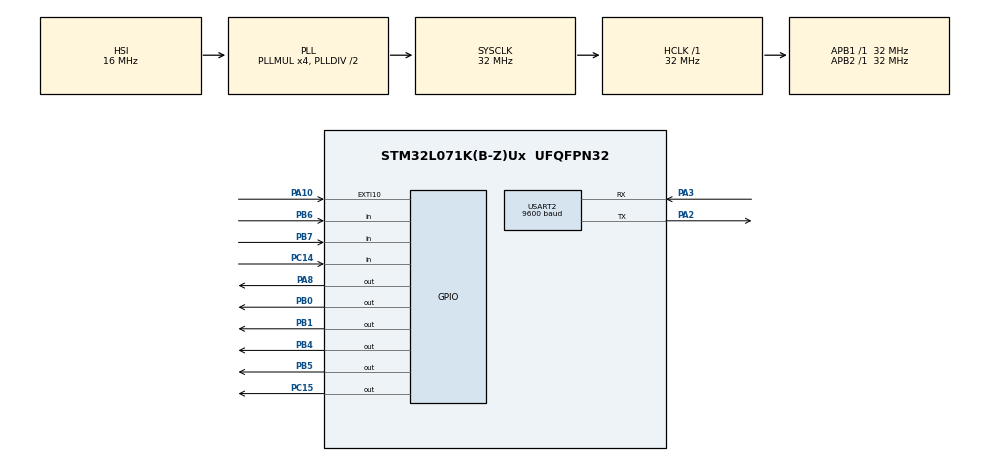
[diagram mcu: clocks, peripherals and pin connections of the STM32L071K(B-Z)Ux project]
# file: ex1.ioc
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Dma.MEMTOMEM.0.Direction=DMA_MEMORY_TO_MEMORY
Dma.MEMTOMEM.0.Instance=DMA1_Channel1
Dma.MEMTOMEM.0.MemDataAlignment=DMA_MDATAALIGN_BYTE
Dma.MEMTOMEM.0.MemInc=DMA_MINC_ENABLE
Dma.MEMTOMEM.0.Mode=DMA_NORMAL
Dma.MEMTOMEM.0.PeriphDataAlignment=DMA_PDATAALIGN_BYTE
Dma.MEMTOMEM.0.PeriphInc=DMA_PINC_ENABLE
Dma.MEMTOMEM.0.Priority=DMA_PRIORITY_LOW
Dma.Request0=MEMTOMEM
Dma.Request1=USART2_RX
Dma.USART2_RX.1.Direction=DMA_PERIPH_TO_MEMORY
Dma.USART2_RX.1.Instance=DMA1_Channel5
Dma.USART2_RX.1.MemDataAlignment=DMA_MDATAALIGN_BYTE
Dma.USART2_RX.1.MemInc=DMA_MINC_ENABLE
Dma.USART2_RX.1.Mode=DMA_CIRCULAR
Dma.USART2_RX.1.PeriphDataAlignment=DMA_PDATAALIGN_BYTE
Dma.USART2_RX.1.PeriphInc=DMA_PINC_DISABLE
Dma.USART2_RX.1.Priority=DMA_PRIORITY_LOW
Mcu.Family=STM32L0
Mcu.Name=STM32L071K(B-Z)Ux
Mcu.Package=UFQFPN32
NVIC.DMA1_Channel1_IRQn=true\:0\:0\:false\:false\:true\:true\:true
NVIC.DMA1_Channel4_5_6_7_IRQn=true\:0\:0\:false\:false\:true\:false\:true
NVIC.EXTI4_15_IRQn=true\:0\:0\:false\:false\:true\:true\:true
NVIC.TIM6_IRQn=true\:0\:0\:false\:false\:true\:true\:true
NVIC.USART2_IRQn=true\:0\:0\:false\:false\:true\:true\:true
PA10.Signal=GPXTI10
PA13.Mode=Serial_Wire
PA13.Signal=SYS_SWDIO
PA14.Mode=Serial_Wire
PA14.Signal=SYS_SWCLK
PA2.Mode=Asynchronous
PA2.Signal=USART2_TX
PA3.Mode=Asynchronous
PA3.Signal=USART2_RX
PA8.Signal=GPIO_Output
PB0.Signal=GPIO_Output
PB1.Signal=GPIO_Output
PB4.Signal=GPIO_Output
PB5.Signal=GPIO_Output
PB6.Signal=GPIO_Input
PB7.Signal=GPIO_Input
PC14-OSC32_IN.Signal=GPIO_Input
PC15-OSC32_OUT.Signal=GPIO_Output
ProjectManager.HeapSize=0x200
ProjectManager.StackSize=0x400
ProjectManager.TargetToolchain=MDK-ARM V5
RCC.AHBFreq_Value=32000000
RCC.APB1Freq_Value=32000000
RCC.APB1TimFreq_Value=32000000
RCC.APB2Freq_Value=32000000
RCC.APB2TimFreq_Value=32000000
RCC.HCLKFreq_Value=32000000
RCC.HSI16_VALUE=16000000
RCC.HSI_VALUE=16000000
RCC.LSE_VALUE=32768
RCC.MSI_VALUE=2097000
RCC.PLLMUL=RCC_PLLMUL_4
RCC.SYSCLKFreq_VALUE=32000000
RCC.SYSCLKSource=RCC_SYSCLKSOURCE_PLLCLK
RCC.VCOOutputFreq_Value=64000000
RTC.Format=RTC_FORMAT_BIN
RTC.SynchPrediv=307
TIM6.Period=999
TIM6.Prescaler=31
USART2.BaudRate=9600
USART2.VirtualMode-Asynchronous=VM_ASYNC
VP_CRC_VS_CRC.Mode=CRC_Activate
VP_RTC_VS_RTC_Activate.Mode=RTC_Enabled
VP_RTC_VS_RTC_Calendar.Mode=RTC_Calendar
VP_TIM6_VS_ClockSourceINT.Mode=Enable_Timer
board=custom

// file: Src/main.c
/* USER CODE BEGIN Header */
/**
  ******************************************************************************
  * @file           : main.c
  * @brief          : Main program body
  ******************************************************************************
  * @attention
  *
  * <h2><center>&copy; Copyright (c) 2019 STMicroelectronics.
  * All rights reserved.</center></h2>
  *
  * This software component is licensed by ST under BSD 3-Clause license,
  * the "License"; You may not use this file except in compliance with the
  * License. You may obtain a copy of the License at:
  *                        opensource.org/licenses/BSD-3-Clause
  *
  ******************************************************************************
  */
/* USER CODE END Header */

#include "main.h"
#include "crc.h"
#include "dma.h"
#include "rtc.h"
#include "tim.h"
#include "usart.h"
#include "gpio.h"

/* USER CODE BEGIN Includes */
#include "stm32l0xx_hal.h"
#include "zm4xx_gpio.h"
#include "spi.h"
#include "timer.h"
#include "stddef.h"
#include "sx127x_lora.h"
#include "key.h"
/* USER CODE END Includes */

/* USER CODE BEGIN PTD */
#define FREQ  (433000000)
void SystemClock_Config(void);
void Hardware_Init(void);
radio_handle_t  handle;
int ret = RADIO_RET_OK;

    uint16_t len = 0;
		uint8_t rx[100];
		uint8_t tx = 0x55;
		uint8_t cntr = 0;
	unsigned int time_i=0,time_10ms=1,time_100ms=1;
	unsigned int lora_flag=2,send_allow=1;
	unsigned char send[100]="123",reply[100],enter[5]="\r\n";
	unsigned int usar_flag=0;

/* USER CODE END PTD */

void SystemClock_Config(void);

/* USER CODE BEGIN 0 */
void Task_BrdInit(void)
{
    HAL_GPIO_WritePin(GPIOC, GPIO_PIN_15, GPIO_PIN_SET);

    OLED_PowerControl(ENABLE);

    HAL_Delay(200);
    OLED_Init();
    OLED_Clear();

    OLED_ShowString(0, 0, (unsigned char *)"                ", 16);
    OLED_ShowString(0, 2, (unsigned char *)"                ", 16);
}
void LoRa_Init(void)
{

	handle = radio_zm4xx_inst_init(spi_recv_byte,spi_send_byte,zm4xx_rst_pin_set,zm4xx_sel_pin_set,delay_ms,delay_us);

	if(handle != NULL){
		if(RADIO_RET_OK == radio_freq_set(handle, FREQ)){
				HAL_GPIO_WritePin(GPIOC, GPIO_PIN_15,GPIO_PIN_RESET);
		}

		radio_mode_set(handle, RX_MODE);	//Receive Mode
	}
}
void key(void);
void rx2(void);
void terminal(void);
/* USER CODE END 0 */

int main(void)
{
  /* USER CODE BEGIN 1 */
    char lcdLine_1st_line[16];
    char lcdLine_2st_line[16];

  /* USER CODE END 1 */

  /* MCU Configuration--------------------------------------------------------*/

  /* Reset of all peripherals, Initializes the Flash interface and the Systick. */
  HAL_Init();

  /* Configure the system clock */
  SystemClock_Config();

  /* Initialize all configured peripherals */
  MX_GPIO_Init();
  MX_DMA_Init();
  MX_CRC_Init();
  MX_USART2_UART_Init();
  MX_RTC_Init();
  MX_TIM6_Init();
  /* USER CODE BEGIN 2 */
    Task_BrdInit();
		zm4xx_pin_init(); //LORA��Ҫ
    spi_init();//LORA��Ҫ
		LoRa_Init();
		HAL_TIM_Base_Start_IT(&htim6);
		__HAL_UART_CLEAR_IDLEFLAG(&huart2);
		__HAL_UART_ENABLE_IT(&huart2,UART_IT_IDLE);
		HAL_UART_Transmit(&huart2,send,strlen((char *)send),100);
		HAL_UART_Receive_DMA(&huart2,reply,20);
		sprintf(lcdLine_1st_line, "GXCT IOT       ");
		sprintf(lcdLine_2st_line, "Hello World    ");
  /* USER CODE END 2 */

  /* Infinite loop */
    while (1)
    {

    /* USER CODE BEGIN 3 */
			if(time_100ms==1)
			{
				OLED_ShowString(0, 0, (unsigned char *)rx, 16);
				OLED_ShowString(0, 2, (unsigned char *)lcdLine_2st_line, 16);
				time_100ms=0;
			}
			if(time_10ms==1)
			{
				key_scan();
				time_10ms=0;
			}

			key();
			terminal();
    }
  /* USER CODE END 3 */
}
/* USER CODE BEGIN 4 */
void terminal()
{
	if(lora_flag==1)
	{
		send_allow=0;
		lora_flag=0;
		HAL_UART_Transmit(&huart2,rx,len,100);
		HAL_UART_Transmit(&huart2,enter,5,100);
		send_allow=1;
	}
}
void rx2()
{
	if(__HAL_UART_GET_FLAG(&huart2,UART_FLAG_IDLE))
	{
		__HAL_UART_CLEAR_IDLEFLAG(&huart2);
		HAL_UART_DMAStop(&huart2);
		usar_flag=1;
		HAL_UART_Receive_DMA(&huart2,reply,20);
	}
}
void key()
{
	static char send[10];
	if(key_flag!=0)
	{
		sprintf(send, "%d",key_flag);
		radio_buf_send(handle, (unsigned char *)send, 2);
		radio_mode_set(handle, RX_MODE);
		key_flag=0;
	}
}
void HAL_TIM_PeriodElapsedCallback(TIM_HandleTypeDef *htim)
{
	time_i++;
	if(time_i==9999)	time_i=0;
	if(time_i%4==0)	time_10ms=!time_10ms;
	if(time_i%100==0)	time_100ms=!time_100ms;
}
void HAL_GPIO_EXTI_Callback(uint16_t GPIO_Pin)
{
	if(GPIO_Pin==GPIO_PIN_10)
	{
		if(send_allow==1)
		{
			ret = radio_buf_recv(handle, rx, &len);
			lora_flag=1;
		}
	}
}
/* USER CODE END 4 */
void SystemClock_Config(void)
{
  RCC_OscInitTypeDef RCC_OscInitStruct = {0};
  RCC_ClkInitTypeDef RCC_ClkInitStruct = {0};
  RCC_PeriphCLKInitTypeDef PeriphClkInit = {0};

  /** Configure the main internal regulator output voltage
  */
  __HAL_PWR_VOLTAGESCALING_CONFIG(PWR_REGULATOR_VOLTAGE_SCALE1);
  /** Initializes the CPU, AHB and APB busses clocks
  */
  RCC_OscInitStruct.OscillatorType = RCC_OSCILLATORTYPE_HSI|RCC_OSCILLATORTYPE_LSI;
  RCC_OscInitStruct.HSIState = RCC_HSI_ON;
  RCC_OscInitStruct.HSICalibrationValue = RCC_HSICALIBRATION_DEFAULT;
  RCC_OscInitStruct.LSIState = RCC_LSI_ON;
  RCC_OscInitStruct.PLL.PLLState = RCC_PLL_ON;
  RCC_OscInitStruct.PLL.PLLSource = RCC_PLLSOURCE_HSI;
  RCC_OscInitStruct.PLL.PLLMUL = RCC_PLLMUL_4;
  RCC_OscInitStruct.PLL.PLLDIV = RCC_PLLDIV_2;
  if (HAL_RCC_OscConfig(&RCC_OscInitStruct) != HAL_OK)
  {
    Error_Handler();
  }
  /** Initializes the CPU, AHB and APB busses clocks
  */
  RCC_ClkInitStruct.ClockType = RCC_CLOCKTYPE_HCLK|RCC_CLOCKTYPE_SYSCLK
                              |RCC_CLOCKTYPE_PCLK1|RCC_CLOCKTYPE_PCLK2;
  RCC_ClkInitStruct.SYSCLKSource = RCC_SYSCLKSOURCE_PLLCLK;
  RCC_ClkInitStruct.AHBCLKDivider = RCC_SYSCLK_DIV1;
  RCC_ClkInitStruct.APB1CLKDivider = RCC_HCLK_DIV1;
  RCC_ClkInitStruct.APB2CLKDivider = RCC_HCLK_DIV1;

  if (HAL_RCC_ClockConfig(&RCC_ClkInitStruct, FLASH_LATENCY_1) != HAL_OK)
  {
    Error_Handler();
  }
  PeriphClkInit.PeriphClockSelection = RCC_PERIPHCLK_USART2|RCC_PERIPHCLK_RTC;
  PeriphClkInit.Usart2ClockSelection = RCC_USART2CLKSOURCE_PCLK1;
  PeriphClkInit.RTCClockSelection = RCC_RTCCLKSOURCE_LSI;
  if (HAL_RCCEx_PeriphCLKConfig(&PeriphClkInit) != HAL_OK)
  {
    Error_Handler();
  }
}

void Error_Handler(void)
{
}

/************************ (C) COPYRIGHT STMicroelectronics *****END OF FILE****/
